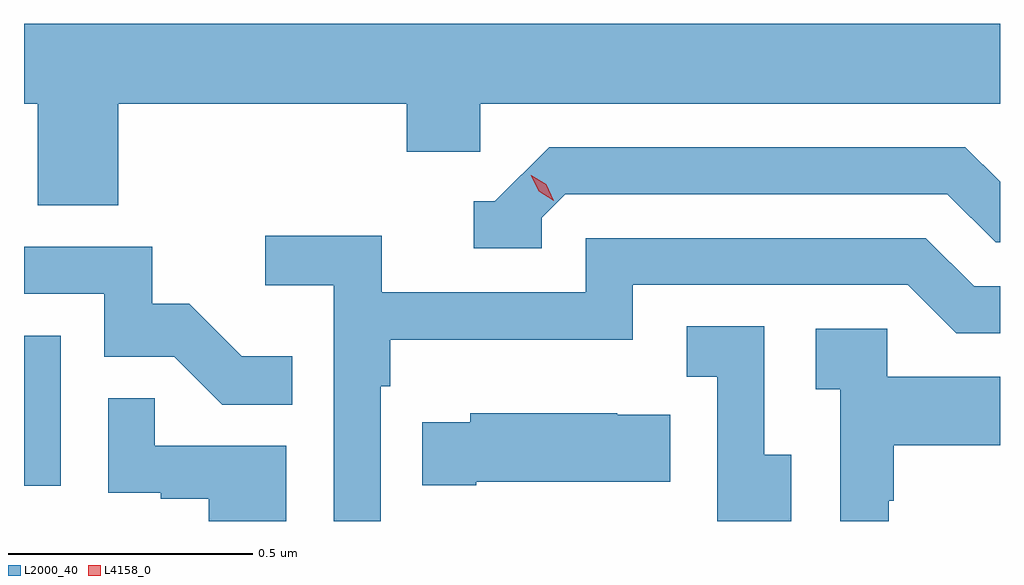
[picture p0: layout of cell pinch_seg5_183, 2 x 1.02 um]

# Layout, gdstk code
import gdstk
lib = gdstk.Library(unit=1e-6, precision=1e-09)
def R(c, l, rs):  # rectangles x0, y0, x1, y1
    for r in rs: c.add(gdstk.rectangle(r[:2], r[2:], *l))
def P(c, l, *ps):  # polygons
    for p in ps: c.add(gdstk.Polygon(p, *l))
L2000_40 = (2000, 40)
L4158_0 = (4158, 0)

pinch_seg5_183 = lib.new_cell('pinch_seg5_183')
R(pinch_seg5_183, L2000_40, [(1116.679,878.622,1116.754,878.929)])
P(pinch_seg5_183, L2000_40, [(1116.872,879.404),(1117.463,879.404),(1117.463,879.306),(1117.614,879.306),(1117.614,879.404),(1118.679,879.404),(1118.679,879.568),(1116.679,879.568),(1116.679,879.404),(1116.707,879.404),(1116.707,879.196),(1116.872,879.196)],
  [(1117.74,879.171),(1117.788,879.219),(1118.571,879.219),(1118.67,879.12),(1118.679,879.12),(1118.679,879.244),(1118.608,879.315),(1117.755,879.315),(1117.644,879.204),(1117.601,879.204),(1117.601,879.108),(1117.74,879.108)],
  [(1117.41,878.825),(1117.43,878.825),(1117.43,878.921),(1117.926,878.921),(1117.926,879.033),(1118.49,879.033),(1118.589,878.934),(1118.679,878.934),(1118.679,879.03),(1118.626,879.03),(1118.527,879.129),(1117.83,879.129),(1117.83,879.018),(1117.412,879.018),(1117.412,879.134),(1117.173,879.134),(1117.173,879.032),(1117.314,879.032),(1117.314,878.549),(1117.41,878.549)],
  [(1117.229,878.887),(1117.125,878.887),(1117.018,878.994),(1116.942,878.994),(1116.942,879.111),(1116.679,879.111),(1116.679,879.015),(1116.843,879.015),(1116.843,878.886),(1116.987,878.886),(1117.085,878.788),(1117.229,878.788)],
  [(1118.251,878.685),(1118.196,878.685),(1118.196,878.948),(1118.037,878.948),(1118.037,878.845),(1118.1,878.845),(1118.1,878.549),(1118.251,878.549)],
  [(1118.451,878.591),(1118.461,878.591),(1118.461,878.705),(1118.679,878.705),(1118.679,878.845),(1118.448,878.845),(1118.448,878.943),(1118.301,878.943),(1118.301,878.819),(1118.352,878.819),(1118.352,878.549),(1118.451,878.549)],
  [(1117.216,878.703),(1116.947,878.703),(1116.947,878.801),(1116.852,878.801),(1116.852,878.607),(1116.959,878.607),(1116.959,878.595),(1117.058,878.595),(1117.058,878.549),(1117.216,878.549)],
  [(1117.606,878.63),(1118.003,878.63),(1118.003,878.767),(1117.895,878.767),(1117.895,878.77),(1117.593,878.77),(1117.593,878.752),(1117.495,878.752),(1117.495,878.623),(1117.606,878.623)])
P(pinch_seg5_183, L4158_0, [(1117.765,879.206),(1117.734,879.225),(1117.717,879.258),(1117.717,879.258),(1117.718,879.258),(1117.749,879.239),(1117.765,879.206),(1117.765,879.206)])

lib.write_gds('pinch_seg5_183.gds')
